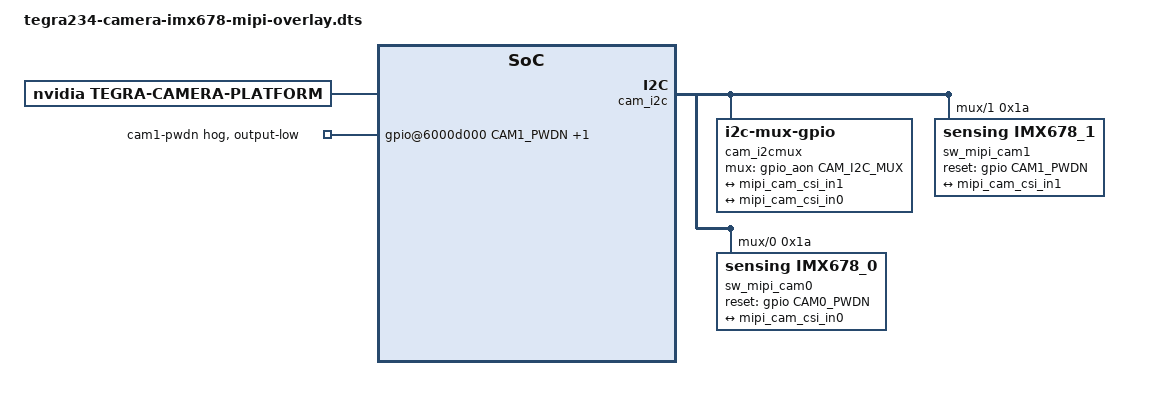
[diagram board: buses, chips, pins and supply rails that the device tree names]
// SPDX-License-Identifier: GPL-2.0-only
// SPDX-FileCopyrightText: Copyright (c) 2023-2024, NVIDIA CORPORATION & AFFILIATES. All rights reserved.

/dts-v1/;
/plugin/;

#define CAM0_PWDN	TEGRA234_MAIN_GPIO(H, 6)
#define CAM1_PWDN	TEGRA234_MAIN_GPIO(AC, 0)
#define CAM_I2C_MUX 	TEGRA234_AON_GPIO(CC, 3)

#include <dt-bindings/tegra234-p3767-0000-common.h>

/ {
	overlay-name = "Camera SG8-MIPI-IMX678";
	jetson-header-name = "Jetson 24pin CSI Connector";
	compatible = JETSON_COMPATIBLE_P3768;
	/* SG2-MIPI-imx678 connected to cam1 port */

	fragment@0 {
		target-path = "/";
		__overlay__ {
			tegra-capture-vi  {
				num-channels = <2>;
				ports {
					#address-cells = <1>;
					#size-cells = <0>;
					port@0 {
						reg = <0>;
						mipi_cam_vi_in0: endpoint {
							port-index = <1>;
							bus-width = <2>;
							remote-endpoint = <&mipi_cam_csi_out0>;
						};
					};
					port@1 {
						reg = <1>;
						mipi_cam_vi_in1: endpoint {
							port-index = <2>;
							bus-width = <4>;
							remote-endpoint = <&mipi_cam_csi_out1>;
						};
					};
				};
			};
			tegra-camera-platform {
				compatible = "nvidia, tegra-camera-platform";

				/**
				* Physical settings to calculate max ISO BW
				*
				* num_csi_lanes = <>;
				* Total number of CSI lanes when all cameras are active
				*
				* max_lane_speed = <>;
				* Max lane speed in Kbit/s
				*
				* min_bits_per_pixel = <>;
				* Min bits per pixel
				*
				* vi_peak_byte_per_pixel = <>;
				* Max byte per pixel for the VI ISO case
				*
				* vi_bw_margin_pct = <>;
				* Vi bandwidth margin in percentage
				*
				* max_pixel_rate = <>;
				* Max pixel rate in Kpixel/s for the ISP ISO case
				*
				* isp_peak_byte_per_pixel = <>;
				* Max byte per pixel for the ISP ISO case
				*
				* isp_bw_margin_pct = <>;
				* Isp bandwidth margin in percentage
				*/
				num_csi_lanes = <4>;
				max_lane_speed = <1500000>;
				min_bits_per_pixel = <10>;
				vi_peak_byte_per_pixel = <2>;
				vi_bw_margin_pct = <25>;
				max_pixel_rate = <7500000>;
				isp_peak_byte_per_pixel = <5>;
				isp_bw_margin_pct = <25>;

				/**
				 * The general guideline for naming badge_info contains 3 parts, and is as follows,
				 * The first part is the camera_board_id for the module; if the module is in a FFD
				 * platform, then use the platform name for this part.
				 * The second part contains the position of the module, ex. "rear" or "front".
				 * The third part contains the last 6 characters of a part number which is found
				 * in the module's specsheet from the vendor.
				 */
				modules {
					module0 {
						
						badge = "sgx_rear_imx678";
						position = "rear";
						orientation = "1";
						drivernode0 {
							pcl_id = "v4l2_sensor";
							sysfs-device-tree = "/sys/firmware/devicetree/base/bus@0/cam_i2cmux/i2c@1/cam_0@1a";
						};
					};
					module1 {
						badge = "sgx_front_imx678";
						position = "front";
						orientation = "1";
						drivernode0 {
							pcl_id = "v4l2_sensor";
							sysfs-device-tree = "/sys/firmware/devicetree/base/bus@0/cam_i2cmux/i2c@0/cam_1@1a";
						};
					};
				};
			};
			bus@0 {
				host1x@13e00000 {
					nvcsi@15a00000 {
						num-channels = <2>;
						#address-cells = <1>;
						#size-cells = <0>;
						channel@0 {
							reg = <0>;
							ports {
								#address-cells = <1>;
								#size-cells = <0>;
								port@0 {
									reg = <0>;
									mipi_cam_csi_in0: endpoint@0 {
										port-index = <1>;
										bus-width = <2>;
										remote-endpoint = <&mipi_cam_out0>;
									};
								};
								port@1 {
									reg = <1>;
									mipi_cam_csi_out0: endpoint@1 {
										remote-endpoint = <&mipi_cam_vi_in0>;
									};
								};
							};
						};
						channel@1 {
							reg = <1>;
							ports {
								#address-cells = <1>;
								#size-cells = <0>;
								port@0 {
									reg = <0>;
									mipi_cam_csi_in1: endpoint@2 {
										port-index = <2>;
										bus-width = <4>;
										remote-endpoint = <&mipi_cam_out1>;
									};
								};
								port@1 {
									reg = <1>;
									mipi_cam_csi_out1: endpoint@3 {
										remote-endpoint = <&mipi_cam_vi_in1>;
									};
								};
							};
						};
					};
				};
				cam_i2cmux {
					status = "okay";
					compatible = "i2c-mux-gpio";
					#address-cells = <1>;
					#size-cells = <0>;
					mux-gpios = <&gpio_aon CAM_I2C_MUX GPIO_ACTIVE_HIGH>;
					i2c-parent = <&cam_i2c>;
					i2c@0 {
						status = "okay";
						reg = <1>;
						#address-cells = <1>;
						#size-cells = <0>;
						rbpcv2_imx219_a@10 {
							status = "disabled";
						};

						sw_mipi_cam1: cam_1@1a {
							compatible = "sensing,imx678_1";
							/* I2C device address */
							reg = <0x1a>;

							/* V4L2 device node location */
							devnode = "video1";

							/* Physical dimensions of sensor */
							physical_w = "3.680";
							physical_h = "2.760";

							sensor_model = "imx678";				
							
							/* Defines number of frames to be dropped by driver internally after applying */
							/* sensor crop settings. Some sensors send corrupt frames after applying */
							/* crop co-ordinates */
							post_crop_frame_drop = "0";

							/* Convert Gain to unit of dB (decibel) befor passing to kernel driver */
							use_decibel_gain = "true";

							/* if true, delay gain setting by one frame to be in sync with exposure */
							delayed_gain = "true";

							/* enable CID_SENSOR_MODE_ID for sensor modes selection */

							use_sensor_mode_id = "true";

							reset-gpios = <&gpio CAM1_PWDN GPIO_ACTIVE_HIGH>;

							mode0 { /* 3856x2176_4lane_raw12_30fps_linear */
								mclk_khz = "24000";
								num_lanes = "4";
								tegra_sinterface = "serial_c";
								phy_mode = "DPHY";
								discontinuous_clk = "no";
								dpcm_enable = "false";
								cil_settletime = "0";
								lane_polarity = "0";

								active_w = "3856";
								active_h = "2180";
								mode_type = "bayer";
								pixel_phase = "rggb";
								csi_pixel_bit_depth = "12";
								dynamic_pixel_bit_depth = "12";
								readout_orientation = "0";
								line_length = "3856";
								inherent_gain = "1";
								mclk_multiplier = "14.4";
								pix_clk_hz = "396000000";

								gain_factor = "1000";
								min_gain_val = "1"; /* dB */
								max_gain_val = "72000"; /* dB */
								step_gain_val = "300"; /* 0.3 */
								default_gain = "1";
								min_hdr_ratio = "1";
								max_hdr_ratio = "1";
								framerate_factor = "1000000";
								min_framerate = "5000000";
								max_framerate = "30000000";
								step_framerate = "1";
								default_framerate = "30000000";
								exposure_factor = "1000000";
								min_exp_time = "15"; 		/*us, 1 lines*/
								max_exp_time = "200000";		/*us, 2247 lines*/
								step_exp_time = "1";
								default_exp_time = "30000";/* us */
								embedded_metadata_height = "1";
							};

							ports {
								#address-cells = <1>;
								#size-cells = <0>;

								port@0 {
									reg = <0>;
									mipi_cam_out1: endpoint {
										port-index = <2>;
										bus-width = <4>;
										remote-endpoint = <&mipi_cam_csi_in1>;
									};
								};
							};
						};
					};
					i2c@1 {
						status = "okay";
						reg = <0>;
						#address-cells = <1>;
						#size-cells = <0>;
						rbpcv2_imx219_c@10 {
							status = "disabled";
						};
						sw_mipi_cam0: cam_0@1a {
							compatible = "sensing,imx678_0";
							/* I2C device address */
							reg = <0x1a>;

							/* V4L2 device node location */
							devnode = "video0";

							/* Physical dimensions of sensor */
							physical_w = "3.680";
							physical_h = "2.760";

							sensor_model = "imx678";				
							
							/* Defines number of frames to be dropped by driver internally after applying */
							/* sensor crop settings. Some sensors send corrupt frames after applying */
							/* crop co-ordinates */
							post_crop_frame_drop = "0";

							/* Convert Gain to unit of dB (decibel) befor passing to kernel driver */
							use_decibel_gain = "true";

							/* if true, delay gain setting by one frame to be in sync with exposure */
							delayed_gain = "true";

							/* enable CID_SENSOR_MODE_ID for sensor modes selection */

							use_sensor_mode_id = "true";

							reset-gpios = <&gpio CAM0_PWDN GPIO_ACTIVE_HIGH>;

							mode0 { /*  */
								mclk_khz = "24000";
								num_lanes = "2";
								tegra_sinterface = "serial_b";
								phy_mode = "DPHY";
								discontinuous_clk = "no";
								dpcm_enable = "false";
								cil_settletime = "0";
								lane_polarity = "6";

								active_w = "3856";
								active_h = "2180";
								mode_type = "bayer";
								pixel_phase = "rggb";
								csi_pixel_bit_depth = "12";
								dynamic_pixel_bit_depth = "12";
								readout_orientation = "0";
								line_length = "3856";
								inherent_gain = "1";
								mclk_multiplier = "14.4";
								pix_clk_hz = "396000000";

								gain_factor = "1000";
								min_gain_val = "1"; /* dB */
								max_gain_val = "72000"; /* dB */
								step_gain_val = "300"; /* 0.3 */
								default_gain = "1";
								min_hdr_ratio = "1";
								max_hdr_ratio = "1";
								framerate_factor = "1000000";
								min_framerate = "5000000";
								max_framerate = "30000000";
								step_framerate = "1";
								default_framerate = "30000000";
								exposure_factor = "1000000";
								min_exp_time = "15"; 		/*us, 1 lines*/
								max_exp_time = "200000";		/*us, 2247 lines*/
								step_exp_time = "1";
								default_exp_time = "30000";/* us */
								embedded_metadata_height = "1";
							};

							ports {
								#address-cells = <1>;
								#size-cells = <0>;

								port@0 {
									reg = <0>;
									mipi_cam_out0: endpoint {
										port-index = <1>;
										bus-width = <2>;
										remote-endpoint = <&mipi_cam_csi_in0>;
									};
								};
							};
						};
					};
				};
				gpio@6000d000 {
					camera-control-output-low {
						gpio-hog;
						output-low;
						gpios = <CAM1_PWDN 0  CAM0_PWDN 0>;
						label = "cam1-pwdn", "cam0-pwdn";
					};
				};
			};
		};
	};
};
